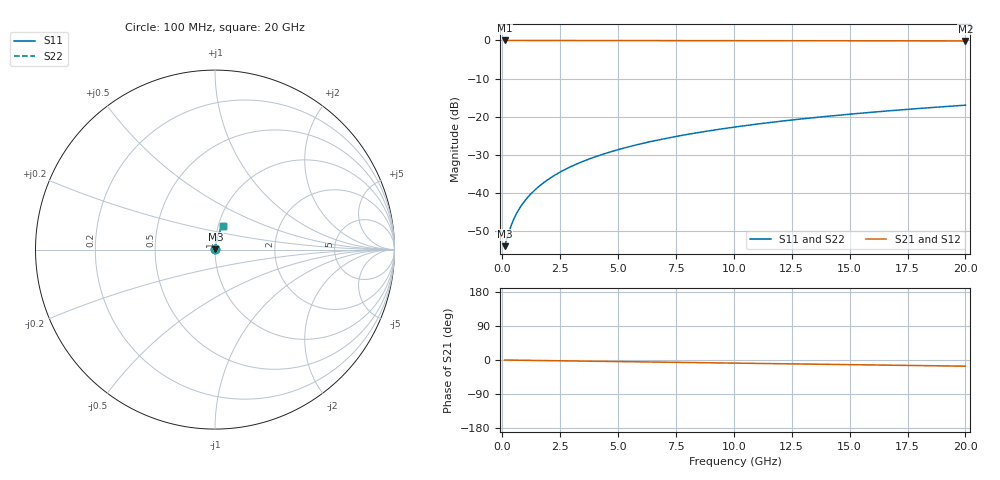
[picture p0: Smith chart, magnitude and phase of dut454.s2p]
! Touchstone file exported from HFSS 2026.1.0
!  File:  C:/ffzhzh/LocalFiles/Ansys_Project_Files/temp_train_BSMRDL_454_1783013360_4048.aedt
!  Generated:  01:30:55 AM Jul  3, 2026
!  Design:  BSMRDL
!  Project:  temp_train_BSMRDL_454_1783013360_4048
! Variables:
!  h_bsmrdl = 2.21um
!  h_ox = 20um
!  h_rdl = 5um
!  h_sub = 80um
!  h_tmrdl = 5um
!  h_tsv = 80um
!  h_via = 3um
!  l_bsmrdl = 218.07um
!  l_sub = 618.07um
!  l_tmrdl = 200um
!  m_sub = 200um
!  pitch = 41.8um
!  r_tsv = 6um
!  s_tmrdl = 10um
!  w_bsmrdl = 24.77um
!  w_sub = 500um
!  w_tmrdl = 12um
!  x_tsv_center1 = 206um
!  x_tsv_center2 = 448.84um
!  x_tsv_center3 = 660.84um
!  x_tsv_center4 = 903.68um
!  x_tsv_center5 = 1115.68um
!  x_tsv_center6 = 1358.52um
# GHz S MA R 50.000000
! Terminal data exported
! Port[1] = BSM_RDL1_1_T1
! Port[2] = BSM_RDL1_1_T2
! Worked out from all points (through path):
!   200 points, 100 MHz to 20 GHz, reference 50 ohm
!   highest |S21| = -0.02 dB at 100 MHz (marker M1); lowest = -0.1 dB at 20 GHz (marker M2)
!   group delay of S21, straight-line fit = 2.26 ps
!   lowest |S11| = -54.0 dB at 100 MHz (marker M3), VSWR 1.00, Z = 50.2 + j0.0855 ohm
!   |S11| at or under -10 dB: start of sweep to end of sweep
!   |S22| runs from -54.0 to -17.0 dB; largest |S21 - S12| = 2.7e-15
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0.1  0.002006 25.1  0.9982 -0.1  0.9982 -0.1  0.002006 25.1
! Gamma 0 0 0 0
! Port Impedance 50 0 50 0
0.3  0.003166 52.0  0.9981 -0.3  0.9981 -0.3  0.003166 52.0
0.4  0.003858 58.2  0.998 -0.4  0.998 -0.4  0.003858 58.2
0.5  0.004561 62.3  0.9979 -0.4  0.9979 -0.4  0.004561 62.3
0.6  0.005264 65.3  0.9978 -0.5  0.9978 -0.5  0.005264 65.3
0.7  0.005965 67.6  0.9978 -0.6  0.9978 -0.6  0.005965 67.6
0.9  0.007363 71.0  0.9977 -0.8  0.9977 -0.8  0.007363 71.0
1.2  0.00947 74.3  0.9976 -1.0  0.9976 -1.0  0.00947 74.3
1.4  0.01088 75.8  0.9975 -1.2  0.9975 -1.2  0.01088 75.8
1.7  0.01302 77.5  0.9974 -1.4  0.9974 -1.4  0.01302 77.5
2.2  0.01661 79.3  0.9973 -1.8  0.9973 -1.8  0.01661 79.3
2.8  0.02095 80.5  0.9972 -2.3  0.9972 -2.3  0.02095 80.5
3.5  0.02604 81.2  0.997 -2.9  0.997 -2.9  0.02604 81.2
4.2  0.03113 81.4  0.9968 -3.5  0.9968 -3.5  0.03113 81.4
5  0.03694 81.4  0.9965 -4.1  0.9965 -4.1  0.03694 81.4
5.9  0.04346 81.2  0.9961 -4.9  0.9961 -4.9  0.04346 81.2
6.8  0.04997 80.8  0.9956 -5.6  0.9956 -5.6  0.04997 80.8
8.3  0.06074 80.0  0.9948 -6.9  0.9948 -6.9  0.06074 80.0
10.1  0.07357 78.8  0.9936 -8.3  0.9936 -8.3  0.07357 78.8
13.4  0.09672 76.5  0.9911 -11.0  0.9911 -11.0  0.09672 76.5
16.7  0.1194 74.0  0.988 -13.7  0.988 -13.7  0.1194 74.0
20  0.1414 71.5  0.9845 -16.3  0.9845 -16.3  0.1414 71.5
